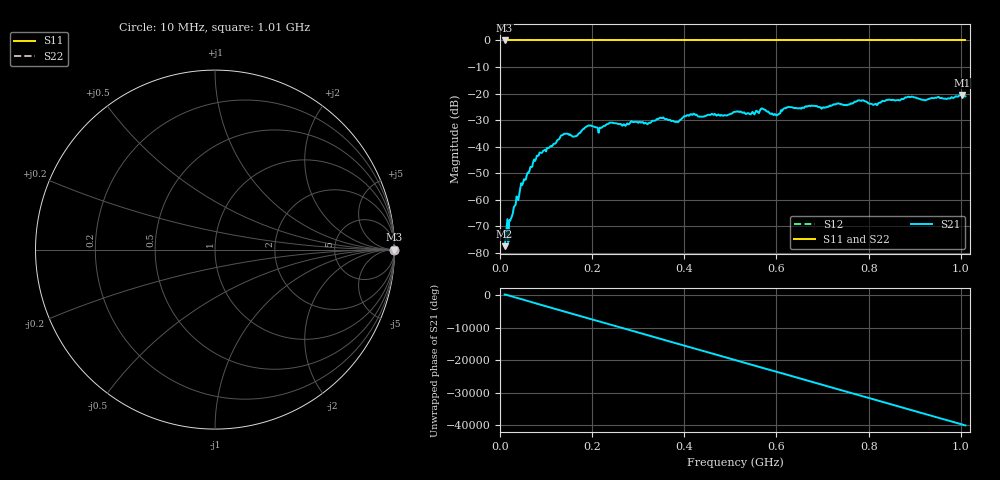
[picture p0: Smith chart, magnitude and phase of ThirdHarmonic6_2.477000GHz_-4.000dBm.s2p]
! 8/17/2025 4:35:41 AM
! C:\ANRITSUVNA\TEMP\TEMP.S2P
! CHANNEL.1
! TR.MEASUREMENT
! RAW.DATA
! RF.CORRECTION.OFF
! AVERAGING.OFF
! IF.BANDWIDTH: 5KHZ
! SWEEPTYPE:  FREQ.SWEEP(Linear)
! Reference Plane Port Info
! PORT:  PORT1  PORT2
! DISTANCE:  0  m  0  m
! TIME:  0  s  0  s
! PHASE.OFFSET:  0  deg.  0  deg.
! LOSS:  0  dB  0  dB
! REF.LOSS:  0  dB  0  dB
! REF.FREQ:  0  Hz  0  Hz
! Power Info
! POWER:  -20  dBm  -20  dBm
! EFF.POWER:  -20  dBm  -20  dBm
! SOURCE.ATTEN:  0  dB  0  dB
! TEST.ATTEN:  0  dB  0  dB
# GHZ S RI R 50.0
! FREQ.GHZ  S11RE  S11IM  S21RE  S21IM  S12RE  S12IM  S22RE  S22IM
!; PortSelection: Port_12
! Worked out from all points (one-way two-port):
!   501 points, 10 MHz to 1.01 GHz, reference 50 ohm
!   highest |S21| = -20.49 dB at 1.002 GHz (marker M1); lowest = -77.4 dB at 10 MHz (marker M2)
!   lowest |S11| = 0.0 dB at 10 MHz (marker M3)
!   |S11| at or under -10 dB: nowhere
!   |S22| runs from 0.0 to 0.0 dB; largest |S21 - S12| = 1.1
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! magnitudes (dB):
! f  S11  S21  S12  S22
! 10 MHz  0.0  -77.4  0.0  0.0
! 48 MHz  0.0  -54.5  0.0  0.0
! 76 MHz  0.0  -45.3  0.0  0.0
! 136 MHz  0.0  -35.6  0.0  0.0
! 162 MHz  0.0  -36.1  0.0  0.0
! 178 MHz  0.0  -33.8  0.0  0.0
! 194 MHz  0.0  -32.0  0.0  0.0
! 216 MHz  0.0  -32.8  0.0  0.0
! 240 MHz  0.0  -30.9  0.0  0.0
! 322 MHz  0.0  -31.1  0.0  0.0
! 344 MHz  0.0  -29.5  0.0  0.0
! 384 MHz  0.0  -30.6  0.0  0.0
! 416 MHz  0.0  -28.0  0.0  0.0
! 510 MHz  0.0  -26.9  0.0  0.0
! 570 MHz  0.0  -25.7  0.0  0.0
! 598 MHz  0.0  -27.9  0.0  0.0
! 622 MHz  0.0  -25.3  0.0  0.0
! 678 MHz  0.0  -24.6  0.0  0.0
! 814 MHz  0.0  -23.9  0.0  0.0
! 844 MHz  0.0  -22.3  0.0  0.0
! 1.002 GHz  0.0  -20.5  0.0  0.0
! 1.01 GHz  0.0  -21.0  0.0  0.0
